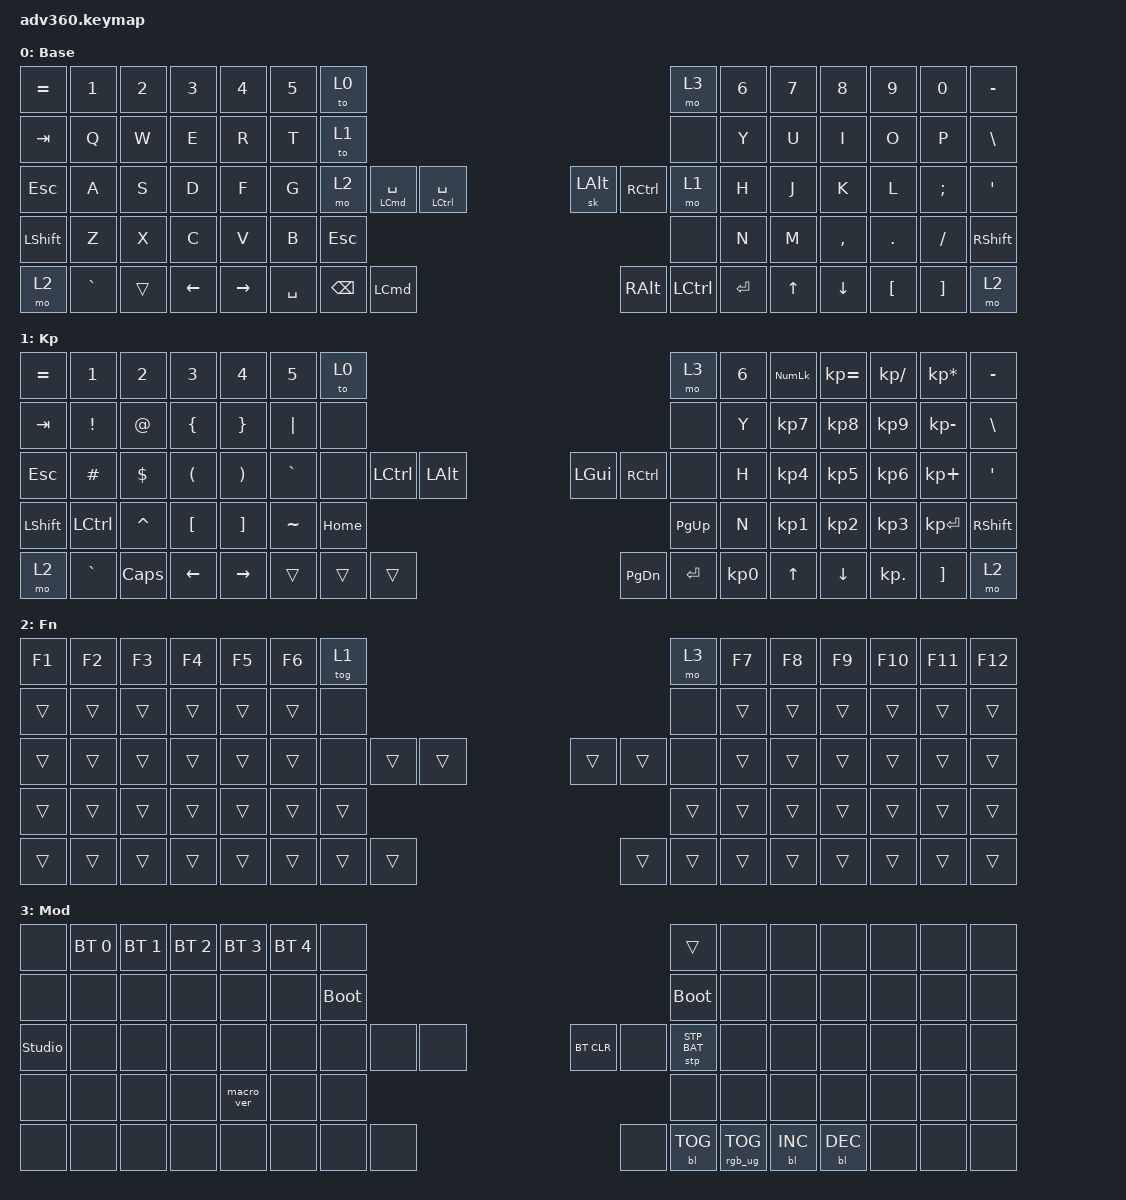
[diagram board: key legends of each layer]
#include <behaviors.dtsi>
#include <dt-bindings/zmk/keys.h>
#include <dt-bindings/zmk/bt.h>
#include <dt-bindings/zmk/rgb.h>
#include <dt-bindings/zmk/stp.h>
#include <dt-bindings/zmk/backlight.h>
#include <dt-bindings/zmk/pointing.h>

/ {
    behaviors {
      #include "macros.dtsi"
      #include "version.dtsi"

      hm: homerow_mods {
          compatible = "zmk,behavior-hold-tap";
          label = "HOMEROW_MODS";
          #binding-cells = <2>;
          tapping-term-ms = <200>;
          quick_tap_ms = <170>;
          flavor = "tap-preferred";
          bindings = <&kp>, <&kp>;
      };
    };

  keymap {
    compatible = "zmk,keymap";

    default_layer {
      display-name = "Base";
      bindings = <
		&kp EQUAL &kp N1    &kp N2 &kp N3   &kp N4     &kp N5 &to 0                                                                                            &mo 3 &kp N6 &kp N7 &kp N8    &kp N9   &kp N0   &kp MINUS
        &kp TAB	  &kp Q		&kp W  &kp E    &kp R      &kp T  &to 1                                                                                            &none &kp Y  &kp U  &kp I     &kp O    &kp P    &kp BSLH
        &kp ESC	  &kp A		&kp S  &kp D    &kp F      &kp G  &mo 2     &mt LEFT_COMMAND SPACE &mt LEFT_CONTROL SPACE &sk LEFT_ALT &kp RCTRL                    &mo 1 &kp H  &kp J  &kp K     &kp L    &kp SEMI &kp SQT
        &kp LSHFT &kp Z		&kp X  &kp C    &kp V      &kp B								   &kp ESC	&none														  &kp N  &kp M  &kp COMMA &kp DOT  &kp FSLH &kp RSHFT
        &mo 2	  &kp GRAVE &trans &kp LEFT &kp RIGHT                   &kp SPACE &kp BACKSPACE &kp LEFT_COMMAND &kp RIGHT_ALT &kp LEFT_CONTROL &kp ENTER                   &kp UP &kp DOWN  &kp LBKT &kp RBKT &mo 2
      >;
    };
    keypad {
      display-name = "Kp";
      bindings = <
		&kp EQUAL &kp N1          &kp N2      &kp N3               &kp N4                &kp N5    &to 0                                                &mo 3 &kp N6 &kp KP_NUM &kp KP_EQUAL &kp KP_DIVIDE &kp KP_MULTIPLY &kp MINUS
        &kp TAB   &kp EXCLAMATION &kp AT_SIGN &kp LEFT_BRACE       &kp RIGHT_BRACE       &kp PIPE  &none                                                 &none &kp Y  &kp KP_N7  &kp KP_N8    &kp KP_N9     &kp KP_MINUS    &kp BSLH
        &kp ESC   &kp POUND       &kp DOLLAR  &kp LEFT_PARENTHESIS &kp RIGHT_PARENTHESIS &kp GRAVE &none     &kp LCTRL &kp LALT  &kp LGUI  &kp RCTRL      &none &kp H &kp KP_N4  &kp KP_N5    &kp KP_N6     &kp KP_PLUS     &kp SQT
        &kp LSHFT &kp LCTRL       &kp CARET   &kp LEFT_BRACKET     &kp RIGHT_BRACKET     &kp TILDE                     &kp HOME  &kp PG_UP			            &kp N &kp KP_N1  &kp KP_N2    &kp KP_N3     &kp KP_ENTER    &kp RSHFT
        &mo 2     &kp GRAVE       &kp CAPS    &kp LEFT             &kp RIGHT             &trans    &trans    &trans    &kp PG_DN &kp ENTER &kp KP_N0	              &kp UP     &kp DOWN     &kp KP_DOT    &kp RBKT        &mo 2
      >;
    };
    fn {
      display-name = "Fn";
      bindings = <
		&kp F1 &kp F2 &kp F3 &kp F4 &kp F5 &kp F6 &tog 1                                           &mo 3 &kp F7 &kp F8 &kp F9 &kp F10 &kp F11 &kp F12
        &trans &trans &trans &trans &trans &trans  &none                                           &none &trans &trans &trans &trans  &trans  &trans
        &trans &trans &trans &trans &trans &trans  &none        &trans &trans &trans &trans        &none &trans &trans &trans &trans  &trans  &trans
        &trans &trans &trans &trans &trans &trans                      &trans &trans                     &trans &trans &trans &trans  &trans  &trans
        &trans &trans &trans &trans &trans               &trans &trans &trans &trans &trans &trans              &trans &trans &trans  &trans  &trans
      >;
    };
    mod {
      display-name = "Mod";
      bindings = <
		&none &bt BT_SEL 0 &bt BT_SEL 1 &bt BT_SEL 2 &bt BT_SEL 3 &bt BT_SEL 4 &none                                                                     &trans                 &none        &none        &none        &none &none &none
        &none &none        &none        &none        &none        &none        &bootloader                                                               &bootloader            &none        &none        &none        &none &none &none
        &studio_unlock &none        &none        &none        &none        &none        &none                   &none &none &bt BT_CLR &none                      &stp STP_BAT &none        &none        &none        &none &none &none
        &none &none        &none        &none        &macro_ver   &none                                      &none &none                                                        &none        &none        &none        &none &none &none
        &none &none        &none        &none        &none                                       &none &none &none &none      &bl BL_TOG &rgb_ug RGB_TOG                                     &bl BL_INC   &bl BL_DEC   &none &none &none
      >;
    };
    extra1 { 
      display-name = "Red";    
      status = "reserved";
    };

    extra2 { 
      display-name = "Purple";    
      status = "reserved";
    };

    extra3 { 
      display-name = "Cyan";    
      status = "reserved";
    };

    extra4 { 
      display-name = "Yellow";    
      status = "reserved";
    };
  };
};
